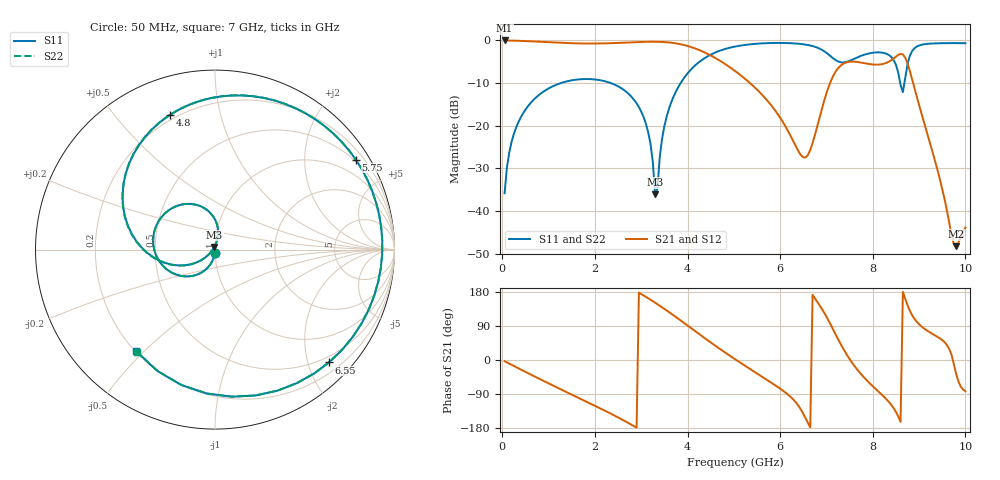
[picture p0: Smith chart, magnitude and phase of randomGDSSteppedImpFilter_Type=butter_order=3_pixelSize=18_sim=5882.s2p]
! freq	dB(S11)	phase(S11)	dB(S12)	phase(S12)
!  dB(S21)	phase(S21)	dB(S22)	phase(S22)
!S-par simulation data
#  GHz  S  DB  R 50
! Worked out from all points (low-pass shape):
!   200 points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, 50 MHz to 10 GHz, reference 50 ohm
!   highest |S21| = 0.00 dB at 50 MHz (marker M1); lowest = -48.2 dB at 9.8 GHz (marker M2)
!   |S21| within 3 dB of the highest: start of sweep to 4.406 GHz
!   lowest |S11| = -36.1 dB at 3.3 GHz (marker M3), VSWR 1.03, Z = 49.6 + j1.51 ohm
!   |S11| at or under -10 dB: start of sweep to 1.263 GHz; 2.345 GHz to 3.85 GHz (1.505 GHz wide, 48.6 % of centre); 8.593 GHz to 8.682 GHz (89.66 MHz wide, 1.04 % of centre)
!   |S22| runs from -36.1 to -0.6 dB; largest |S21 - S12| = 0
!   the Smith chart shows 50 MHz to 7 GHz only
!   S11 on the Smith chart (normalised r, x): 50 MHz: 1.00, -0.03; 4.8 GHz: 0.18, +0.70; 5.75 GHz: 0.45, +3.37; 6.55 GHz: 0.38, -2.38; 7 GHz: 0.20, -0.47
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0.05  -35.81 -92.9  -0.00 -3.2  -0.00 -3.2  -35.81 -92.9
0.5  -16.22 -121.9  -0.15 -31.4  -0.15 -31.4  -16.22 -121.8
1.75  -9.05 163.6  -0.71 -105.9  -0.71 -105.9  -9.05 163.8
2.9  -14.74 92.7  -0.39 -178.6  -0.39 -178.6  -14.74 93.0
3.15  -21.49 78.2  -0.31 163.0  -0.31 163.0  -21.49 78.4
3.3  -36.07 105.1  -0.31 151.3  -0.31 151.3  -36.08 105.3
3.4  -27.33 -142.3  -0.33 143.2  -0.33 143.2  -27.33 -142.0
3.85  -10.01 -168.9  -0.89 104.5  -0.89 104.5  -10.00 -168.6
4.8  -2.04 108.6  -5.45 20.6  -5.45 20.6  -2.04 109.0
5.05  -1.38 88.2  -7.35 0.2  -7.35 0.2  -1.38 88.5
5.75  -0.62 32.6  -14.44 -54.9  -14.44 -54.9  -0.62 32.9
6.55  -0.98 -44.7  -27.41 -154.2  -27.41 -154.2  -0.98 -44.4
6.7  -1.32 -66.3  -24.07 172.0  -24.07 172.0  -1.31 -66.0
7  -2.91 -128.2  -12.37 114.3  -12.37 114.3  -2.89 -127.5
7.2  -4.62 174.9  -7.28 66.9  -7.28 66.9  -4.60 176.0
7.55  -4.54 86.2  -4.95 -6.6  -4.95 -6.6  -4.55 87.3
7.95  -2.97 27.1  -5.58 -63.4  -5.58 -63.4  -2.98 27.9
8.35  -3.43 -15.7  -4.96 -110.9  -4.96 -110.9  -3.44 -15.4
8.65  -12.10 -0.5  -3.29 179.7  -3.29 179.7  -12.41 0.3
8.8  -3.61 15.2  -7.13 130.1  -7.13 130.1  -3.64 16.4
9.8  -0.63 -57.3  -48.21 -36.3  -48.21 -36.3  -0.63 -56.8
10  -0.64 -65.0  -43.84 -82.3  -43.84 -82.3  -0.64 -64.6
